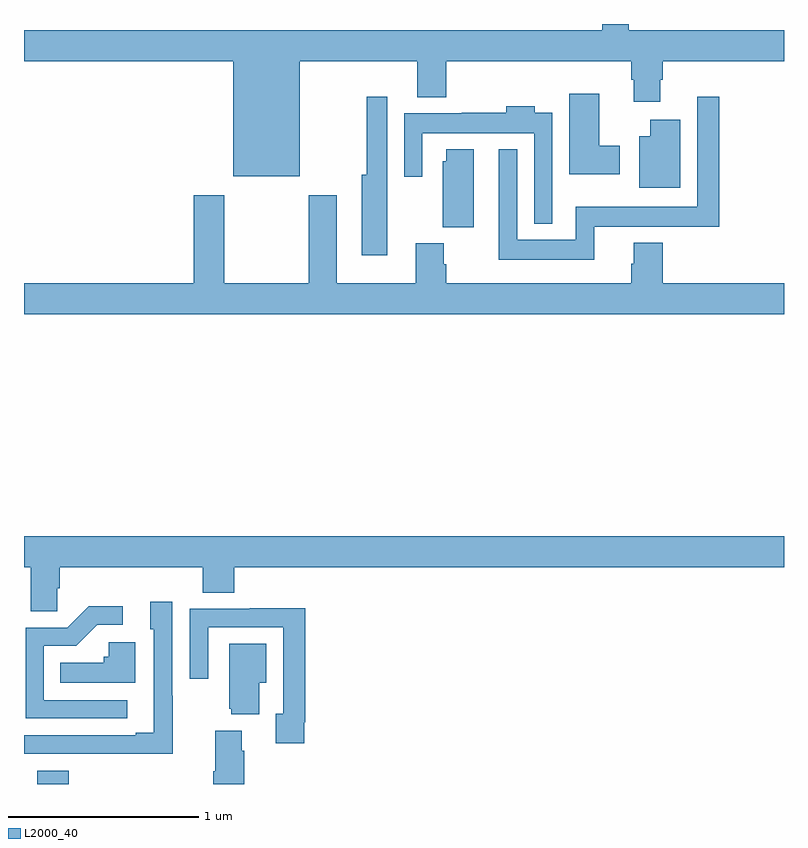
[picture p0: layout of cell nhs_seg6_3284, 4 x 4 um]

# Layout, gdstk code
import gdstk
lib = gdstk.Library(unit=1e-6, precision=1e-09)
def R(c, l, rs):  # rectangles x0, y0, x1, y1
    for r in rs: c.add(gdstk.rectangle(r[:2], r[2:], *l))
def P(c, l, *ps):  # polygons
    for p in ps: c.add(gdstk.Polygon(p, *l))
L2000_40 = (2000, 40)

nhs_seg6_3284 = lib.new_cell('nhs_seg6_3284')
R(nhs_seg6_3284, L2000_40, [(303.071,975.5,303.236,975.571)])
P(nhs_seg6_3284, L2000_40, [(304.45,979.304),(305.069,979.304),(305.069,979.115),(305.222,979.115),(305.222,979.304),(306.197,979.304),(306.197,979.206),(306.209,979.206),(306.209,979.092),(306.349,979.092),(306.349,979.206),(306.362,979.206),(306.362,979.304),(307,979.304),(307,979.468),(306.183,979.468),(306.183,979.5),(306.044,979.5),(306.044,979.468),(303,979.468),(303,979.304),(304.1,979.304),(304.1,978.698),(304.45,978.698)],
  [(306.136,978.858),(306.028,978.858),(306.028,979.132),(305.87,979.132),(305.87,978.71),(306.136,978.71)],
  [(304.912,978.602),(304.911,978.602),(304.911,979.117),(304.803,979.117),(304.803,978.706),(304.778,978.706),(304.778,978.282),(304.912,978.282)],
  [(306.002,978.434),(306.536,978.434),(306.536,978.432),(306.659,978.432),(306.659,979.117),(306.543,979.117),(306.543,978.538),(305.904,978.538),(305.904,978.364),(305.595,978.364),(305.595,978.841),(305.498,978.841),(305.498,978.26),(306.002,978.26)],
  [(305.781,979.033),(305.689,979.033),(305.689,979.066),(305.537,979.066),(305.537,979.033),(305.305,979.033),(305.305,979.03),(305.001,979.03),(305.001,978.696),(305.097,978.696),(305.097,978.926),(305.685,978.926),(305.685,978.449),(305.781,978.449)],
  [(306.454,978.997),(306.296,978.997),(306.296,978.91),(306.239,978.91),(306.239,978.638),(306.454,978.638)],
  [(305.368,978.841),(305.222,978.841),(305.222,978.777),(305.204,978.777),(305.204,978.43),(305.368,978.43)],
  [(307,978.136),(306.362,978.136),(306.362,978.349),(306.209,978.349),(306.209,978.237),(306.197,978.237),(306.197,978.136),(305.222,978.136),(305.222,978.236),(305.209,978.236),(305.209,978.345),(305.062,978.345),(305.062,978.136),(304.645,978.136),(304.645,978.598),(304.498,978.598),(304.498,978.136),(304.053,978.136),(304.053,978.598),(303.893,978.598),(303.893,978.136),(303,978.136),(303,977.972),(307,977.972)],
  [(303,976.64),(303.035,976.64),(303.035,976.408),(303.174,976.408),(303.174,976.531),(303.188,976.531),(303.188,976.64),(303.941,976.64),(303.941,976.507),(304.106,976.507),(304.106,976.64),(307,976.64),(307,976.804),(303,976.804)],
  [(303.783,975.965),(303.78,975.965),(303.78,976.459),(303.665,976.459),(303.665,976.314),(303.684,976.314),(303.684,975.769),(303.587,975.769),(303.587,975.756),(303,975.756),(303,975.66),(303.319,975.66),(303.319,975.659),(303.783,975.659)],
  [(303.544,975.942),(303.105,975.942),(303.105,976.227),(303.274,976.227),(303.385,976.338),(303.52,976.338),(303.52,976.436),(303.341,976.436),(303.228,976.323),(303.009,976.323),(303.009,975.846),(303.544,975.846)],
  [(304.474,975.826),(304.481,975.826),(304.481,976.424),(304.189,976.424),(304.189,976.422),(303.873,976.422),(303.873,976.053),(303.969,976.053),(303.969,976.326),(304.365,976.326),(304.365,975.87),(304.325,975.87),(304.325,975.714),(304.474,975.714)],
  [(303.586,976.246),(303.447,976.246),(303.447,976.17),(303.421,976.17),(303.421,976.138),(303.19,976.138),(303.19,976.034),(303.586,976.034)],
  [(304.237,976.034),(304.276,976.034),(304.276,976.237),(304.079,976.237),(304.079,975.897),(304.091,975.897),(304.091,975.866),(304.237,975.866)],
  [(304.16,975.674),(304.147,975.674),(304.147,975.781),(304.007,975.781),(304.007,975.568),(303.995,975.568),(303.995,975.5),(304.16,975.5)])

lib.write_gds('nhs_seg6_3284.gds')
